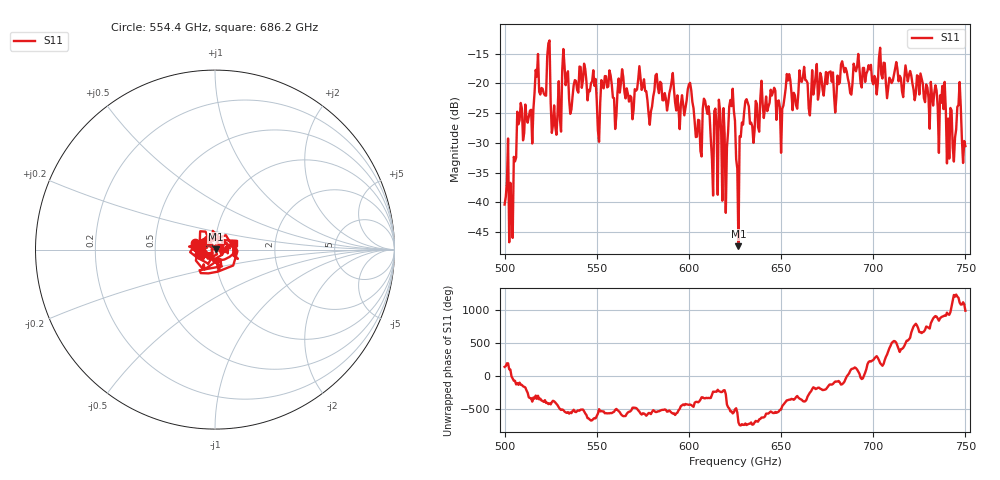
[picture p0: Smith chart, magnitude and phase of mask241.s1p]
!Created with skrf (http://scikit-rf.org).
# GHz S MA R 50.0
!freq magS11 angS11
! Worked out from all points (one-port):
!   401 points, 500 GHz to 750 GHz, reference 50 ohm
!   lowest |S11| = -47.3 dB at 626.9 GHz (marker M1), VSWR 1.01, Z = 50.4 + j0.171 ohm
!   |S11| at or under -10 dB: start of sweep to end of sweep
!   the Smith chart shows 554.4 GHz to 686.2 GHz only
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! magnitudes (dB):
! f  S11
! 500 GHz  -40.4
! 503.8 GHz  -41.0
! 508.1 GHz  -26.2
! 513.8 GHz  -24.6
! 517.5 GHz  -18.9
! 523.8 GHz  -13.3
! 526.9 GHz  -23.7
! 531.2 GHz  -17.8
! 548.1 GHz  -17.8
! 551.2 GHz  -29.8
! 562.5 GHz  -21.6
! 593.8 GHz  -22.0
! 600.6 GHz  -19.9
! 605.6 GHz  -26.2
! 609.4 GHz  -24.1
! 619.4 GHz  -28.5
! 623.1 GHz  -23.8
! 625 GHz  -26.3
! 626.9 GHz  -47.3
! 631.2 GHz  -22.7
! 634.4 GHz  -27.2
! 656.2 GHz  -24.5
! 687.5 GHz  -21.6
! 718.8 GHz  -19.7
! 737.5 GHz  -20.4
! 742.5 GHz  -24.5
! 746.2 GHz  -23.6
! 750 GHz  -30.5
